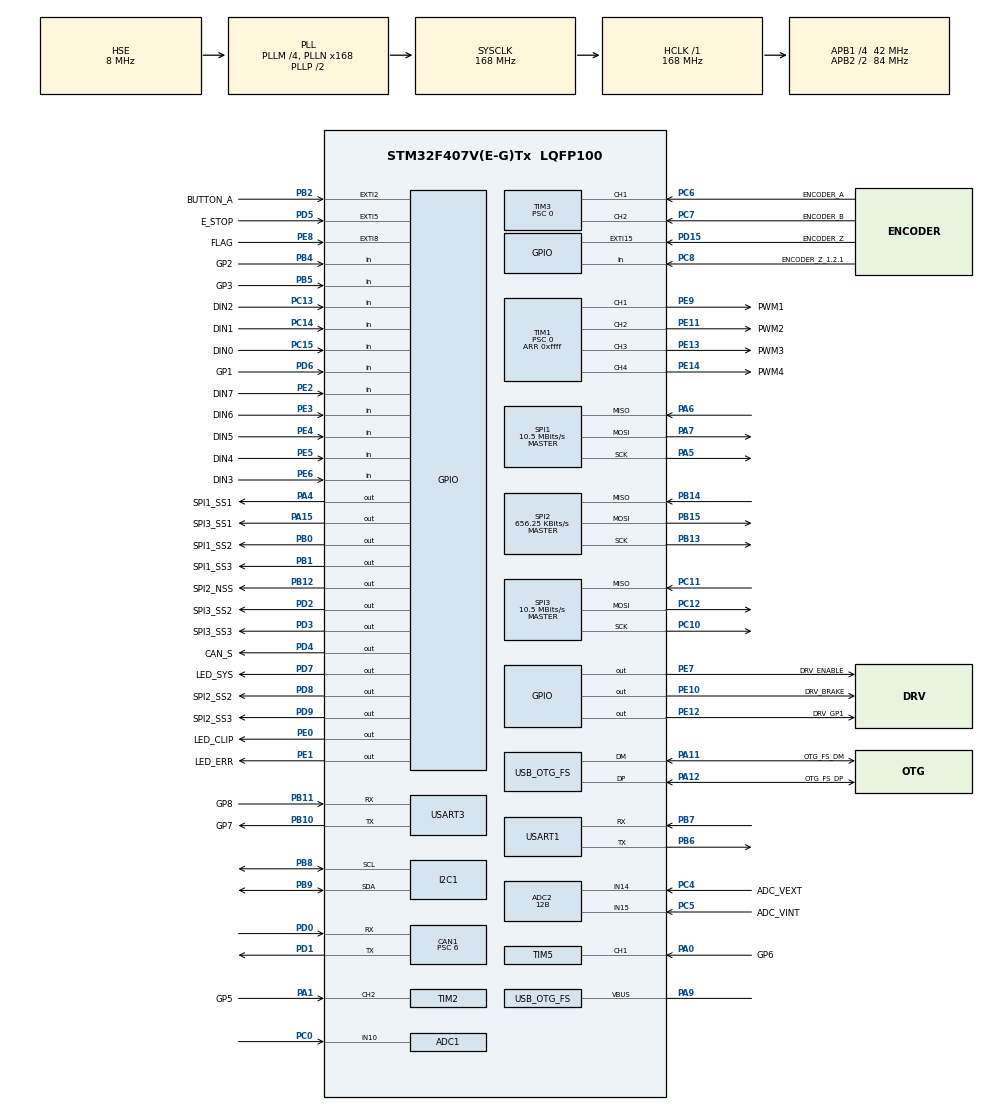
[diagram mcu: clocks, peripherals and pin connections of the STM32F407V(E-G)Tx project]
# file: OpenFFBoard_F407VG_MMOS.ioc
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ADC1.Channel-0\#ChannelRegularConversion=ADC_CHANNEL_10
ADC1.NbrOfConversionFlag=1
ADC1.Rank-0\#ChannelRegularConversion=1
ADC1.SamplingTime-0\#ChannelRegularConversion=ADC_SAMPLETIME_3CYCLES
ADC1.master=1
ADC2.Channel-0\#ChannelRegularConversion=ADC_CHANNEL_14
ADC2.Channel-1\#ChannelRegularConversion=ADC_CHANNEL_15
ADC2.ClockPrescaler=ADC_CLOCK_SYNC_PCLK_DIV4
ADC2.ContinuousConvMode=DISABLE
ADC2.DMAContinuousRequests=ENABLE
ADC2.DataAlign=ADC_DATAALIGN_RIGHT
ADC2.DiscontinuousConvMode=DISABLE
ADC2.EOCSelection=ADC_EOC_SINGLE_CONV
ADC2.EnableAnalogWatchDog=false
ADC2.ExternalTrigConv=ADC_SOFTWARE_START
ADC2.ExternalTrigConvEdge=ADC_EXTERNALTRIGCONVEDGE_NONE
ADC2.InjNumberOfConversion=0
ADC2.Mode=__NULL
ADC2.NbrOfConversion=2
ADC2.Rank-0\#ChannelRegularConversion=1
ADC2.Rank-1\#ChannelRegularConversion=2
ADC2.Resolution=ADC_RESOLUTION_12B
ADC2.SamplingTime-0\#ChannelRegularConversion=ADC_SAMPLETIME_84CYCLES
ADC2.SamplingTime-1\#ChannelRegularConversion=ADC_SAMPLETIME_84CYCLES
ADC2.ScanConvMode=ENABLE
CAN1.ABOM=DISABLE
CAN1.AWUM=DISABLE
CAN1.BS1=CAN_BS1_11TQ
CAN1.BS2=CAN_BS2_2TQ
CAN1.CalculateBaudRate=500000
CAN1.CalculateTimeBit=2000
CAN1.CalculateTimeQuantum=142.85714285714286
CAN1.Mode=CAN_MODE_NORMAL
CAN1.NART=DISABLE
CAN1.Prescaler=6
CAN1.RFLM=DISABLE
CAN1.SJW=CAN_SJW_1TQ
CAN1.TTCM=DISABLE
CAN1.TXFP=DISABLE
Dma.ADC2.0.Direction=DMA_PERIPH_TO_MEMORY
Dma.ADC2.0.FIFOMode=DMA_FIFOMODE_DISABLE
Dma.ADC2.0.Instance=DMA2_Stream2
Dma.ADC2.0.MemDataAlignment=DMA_MDATAALIGN_WORD
Dma.ADC2.0.MemInc=DMA_MINC_ENABLE
Dma.ADC2.0.Mode=DMA_CIRCULAR
Dma.ADC2.0.PeriphDataAlignment=DMA_PDATAALIGN_WORD
Dma.ADC2.0.PeriphInc=DMA_PINC_DISABLE
Dma.ADC2.0.Priority=DMA_PRIORITY_LOW
Dma.Request0=ADC2
Dma.Request1=SPI1_RX
Dma.Request2=SPI1_TX
Dma.Request3=SPI2_RX
Dma.Request4=SPI2_TX
Dma.Request5=SPI3_RX
Dma.Request6=SPI3_TX
Dma.Request7=USART1_RX
Dma.Request8=USART1_TX
Dma.SPI1_RX.1.Direction=DMA_PERIPH_TO_MEMORY
Dma.SPI1_RX.1.FIFOMode=DMA_FIFOMODE_DISABLE
Dma.SPI1_RX.1.Instance=DMA2_Stream0
Dma.SPI1_RX.1.MemDataAlignment=DMA_MDATAALIGN_BYTE
Dma.SPI1_RX.1.MemInc=DMA_MINC_ENABLE
Dma.SPI1_RX.1.Mode=DMA_NORMAL
Dma.SPI1_RX.1.PeriphDataAlignment=DMA_PDATAALIGN_BYTE
Dma.SPI1_RX.1.PeriphInc=DMA_PINC_DISABLE
Dma.SPI1_RX.1.Priority=DMA_PRIORITY_LOW
Dma.SPI1_TX.2.Direction=DMA_MEMORY_TO_PERIPH
Dma.SPI1_TX.2.FIFOMode=DMA_FIFOMODE_DISABLE
Dma.SPI1_TX.2.Instance=DMA2_Stream3
Dma.SPI1_TX.2.MemDataAlignment=DMA_MDATAALIGN_BYTE
Dma.SPI1_TX.2.MemInc=DMA_MINC_ENABLE
Dma.SPI1_TX.2.Mode=DMA_NORMAL
Dma.SPI1_TX.2.PeriphDataAlignment=DMA_PDATAALIGN_BYTE
Dma.SPI1_TX.2.PeriphInc=DMA_PINC_DISABLE
Dma.SPI1_TX.2.Priority=DMA_PRIORITY_LOW
Dma.SPI2_RX.3.Direction=DMA_PERIPH_TO_MEMORY
Dma.SPI2_RX.3.FIFOMode=DMA_FIFOMODE_DISABLE
Dma.SPI2_RX.3.Instance=DMA1_Stream3
Dma.SPI2_RX.3.MemDataAlignment=DMA_MDATAALIGN_BYTE
Dma.SPI2_RX.3.MemInc=DMA_MINC_ENABLE
Dma.SPI2_RX.3.Mode=DMA_NORMAL
Dma.SPI2_RX.3.PeriphDataAlignment=DMA_PDATAALIGN_BYTE
Dma.SPI2_RX.3.PeriphInc=DMA_PINC_DISABLE
Dma.SPI2_RX.3.Priority=DMA_PRIORITY_LOW
Dma.SPI2_TX.4.Direction=DMA_MEMORY_TO_PERIPH
Dma.SPI2_TX.4.FIFOMode=DMA_FIFOMODE_DISABLE
Dma.SPI2_TX.4.Instance=DMA1_Stream4
Dma.SPI2_TX.4.MemDataAlignment=DMA_MDATAALIGN_BYTE
Dma.SPI2_TX.4.MemInc=DMA_MINC_ENABLE
Dma.SPI2_TX.4.Mode=DMA_NORMAL
Dma.SPI2_TX.4.PeriphDataAlignment=DMA_PDATAALIGN_BYTE
Dma.SPI2_TX.4.PeriphInc=DMA_PINC_DISABLE
Dma.SPI2_TX.4.Priority=DMA_PRIORITY_LOW
Dma.SPI3_RX.5.Direction=DMA_PERIPH_TO_MEMORY
Dma.SPI3_RX.5.FIFOMode=DMA_FIFOMODE_DISABLE
Dma.SPI3_RX.5.Instance=DMA1_Stream0
Dma.SPI3_RX.5.MemDataAlignment=DMA_MDATAALIGN_BYTE
Dma.SPI3_RX.5.MemInc=DMA_MINC_ENABLE
Dma.SPI3_RX.5.Mode=DMA_NORMAL
Dma.SPI3_RX.5.PeriphDataAlignment=DMA_PDATAALIGN_BYTE
Dma.SPI3_RX.5.PeriphInc=DMA_PINC_DISABLE
Dma.SPI3_RX.5.Priority=DMA_PRIORITY_LOW
Dma.SPI3_TX.6.Direction=DMA_MEMORY_TO_PERIPH
Dma.SPI3_TX.6.FIFOMode=DMA_FIFOMODE_DISABLE
Dma.SPI3_TX.6.Instance=DMA1_Stream5
Dma.SPI3_TX.6.MemDataAlignment=DMA_MDATAALIGN_BYTE
Dma.SPI3_TX.6.MemInc=DMA_MINC_ENABLE
Dma.SPI3_TX.6.Mode=DMA_NORMAL
Dma.SPI3_TX.6.PeriphDataAlignment=DMA_PDATAALIGN_BYTE
Dma.SPI3_TX.6.PeriphInc=DMA_PINC_DISABLE
Dma.SPI3_TX.6.Priority=DMA_PRIORITY_LOW
Dma.USART1_RX.7.Direction=DMA_PERIPH_TO_MEMORY
Dma.USART1_RX.7.FIFOMode=DMA_FIFOMODE_DISABLE
Dma.USART1_RX.7.Instance=DMA2_Stream5
Dma.USART1_RX.7.MemDataAlignment=DMA_MDATAALIGN_BYTE
Dma.USART1_RX.7.MemInc=DMA_MINC_ENABLE
Dma.USART1_RX.7.Mode=DMA_NORMAL
Dma.USART1_RX.7.PeriphDataAlignment=DMA_PDATAALIGN_BYTE
Dma.USART1_RX.7.PeriphInc=DMA_PINC_DISABLE
Dma.USART1_RX.7.Priority=DMA_PRIORITY_LOW
Dma.USART1_TX.8.Direction=DMA_MEMORY_TO_PERIPH
Dma.USART1_TX.8.FIFOMode=DMA_FIFOMODE_DISABLE
Dma.USART1_TX.8.Instance=DMA2_Stream7
Dma.USART1_TX.8.MemDataAlignment=DMA_MDATAALIGN_BYTE
Dma.USART1_TX.8.MemInc=DMA_MINC_ENABLE
Dma.USART1_TX.8.Mode=DMA_NORMAL
Dma.USART1_TX.8.PeriphDataAlignment=DMA_PDATAALIGN_BYTE
Dma.USART1_TX.8.PeriphInc=DMA_PINC_DISABLE
Dma.USART1_TX.8.Priority=DMA_PRIORITY_LOW
FREERTOS.HEAP_NUMBER=4
FREERTOS.Tasks01=defaultTask,16,1024,StartDefaultTask,As weak,NULL,Dynamic,NULL,NULL
FREERTOS.configCHECK_FOR_STACK_OVERFLOW=2
FREERTOS.configENABLE_FPU=1
FREERTOS.configGENERATE_RUN_TIME_STATS=0
FREERTOS.configRECORD_STACK_HIGH_ADDRESS=1
FREERTOS.configTOTAL_HEAP_SIZE=0xffff
FREERTOS.configUSE_IDLE_HOOK=1
FREERTOS.configUSE_MALLOC_FAILED_HOOK=1
FREERTOS.configUSE_NEWLIB_REENTRANT=1
FREERTOS.configUSE_STATS_FORMATTING_FUNCTIONS=0
FREERTOS.configUSE_TRACE_FACILITY=1
IWDG.Prescaler=IWDG_PRESCALER_16
Mcu.Family=STM32F4
Mcu.Name=STM32F407V(E-G)Tx
Mcu.Package=LQFP100
NVIC.ADC_IRQn=true\:6\:0\:true\:true\:true\:4\:true\:true\:true
NVIC.CAN1_RX0_IRQn=true\:12\:0\:true\:false\:true\:true\:true\:true
NVIC.CAN1_TX_IRQn=true\:12\:0\:true\:false\:true\:true\:true\:true
NVIC.DMA1_Stream0_IRQn=true\:5\:0\:true\:false\:true\:true\:false\:true
NVIC.DMA1_Stream3_IRQn=true\:5\:0\:true\:false\:true\:true\:false\:true
NVIC.DMA1_Stream4_IRQn=true\:5\:0\:true\:false\:true\:true\:false\:true
NVIC.DMA1_Stream5_IRQn=true\:5\:0\:true\:false\:true\:true\:false\:true
NVIC.DMA2_Stream0_IRQn=true\:5\:0\:true\:true\:true\:1\:true\:false\:true
NVIC.DMA2_Stream2_IRQn=true\:5\:0\:true\:false\:true\:true\:false\:true
NVIC.DMA2_Stream3_IRQn=true\:5\:0\:true\:false\:true\:true\:false\:true
NVIC.DMA2_Stream5_IRQn=true\:5\:0\:false\:false\:true\:true\:false\:true
NVIC.DMA2_Stream7_IRQn=true\:5\:0\:false\:false\:true\:true\:false\:true
NVIC.EXTI2_IRQn=true\:6\:0\:true\:false\:true\:true\:true\:true
NVIC.EXTI9_5_IRQn=true\:13\:0\:true\:false\:true\:true\:true\:true
NVIC.I2C1_EV_IRQn=true\:9\:0\:true\:false\:true\:true\:true\:true
NVIC.OTG_FS_IRQn=true\:14\:0\:true\:false\:true\:true\:true\:false
NVIC.PriorityGroup=NVIC_PRIORITYGROUP_4
NVIC.SPI3_IRQn=true\:10\:0\:true\:false\:true\:true\:true\:true
NVIC.TIM1_BRK_TIM9_IRQn=true\:6\:0\:true\:false\:true\:true\:true\:true
NVIC.TIM2_IRQn=true\:7\:0\:true\:false\:true\:true\:true\:true
NVIC.TIM3_IRQn=true\:6\:0\:true\:true\:true\:3\:true\:true\:true
NVIC.TIM4_IRQn=true\:6\:0\:true\:true\:true\:2\:true\:true\:true
NVIC.TIM5_IRQn=true\:6\:0\:true\:false\:true\:true\:true\:true
NVIC.TIM6_DAC_IRQn=true\:0\:0\:false\:false\:true\:false\:false\:true
NVIC.TimeBase=TIM6_DAC_IRQn
NVIC.TimeBaseIP=TIM6
NVIC.USART1_IRQn=true\:7\:0\:true\:false\:true\:true\:true\:true
NVIC.USART3_IRQn=true\:7\:0\:true\:false\:true\:true\:true\:true
PA0-WKUP.GPIO_Label=GP6
PA0-WKUP.Signal=S_TIM5_CH1
PA1.GPIO_Label=GP5
PA1.Signal=S_TIM2_CH2
PA11.GPIO_Label=OTG_FS_DM
PA11.Mode=Device_Only
PA11.Signal=USB_OTG_FS_DM
PA12.GPIO_Label=OTG_FS_DP
PA12.Mode=Device_Only
PA12.Signal=USB_OTG_FS_DP
PA13.GPIO_Label=SWDIO
PA13.Mode=Trace_Asynchronous_SW
PA13.Signal=SYS_JTMS-SWDIO
PA14.GPIO_Label=SWCLK
PA14.Mode=Trace_Asynchronous_SW
PA14.Signal=SYS_JTCK-SWCLK
PA15.GPIO_Label=SPI3_SS1
PA15.Signal=GPIO_Output
PA4.GPIO_Label=SPI1_SS1
PA4.GPIO_Speed=GPIO_SPEED_FREQ_VERY_HIGH
PA4.PinState=GPIO_PIN_SET
PA4.Signal=GPIO_Output
PA5.Mode=Full_Duplex_Master
PA5.Signal=SPI1_SCK
PA6.GPIO_PuPd=GPIO_NOPULL
PA6.Mode=Full_Duplex_Master
PA6.Signal=SPI1_MISO
PA7.Mode=Full_Duplex_Master
PA7.Signal=SPI1_MOSI
PA9.Mode=Activate_VBUS
PA9.Signal=USB_OTG_FS_VBUS
PB0.GPIO_Label=SPI1_SS2
PB0.GPIO_Speed=GPIO_SPEED_FREQ_HIGH
PB0.Signal=GPIO_Output
PB1.GPIO_Label=SPI1_SS3
PB1.GPIO_Speed=GPIO_SPEED_FREQ_HIGH
PB1.Signal=GPIO_Output
PB10.GPIO_Label=GP7
PB10.Mode=Asynchronous
PB10.Signal=USART3_TX
PB11.GPIO_Label=GP8
PB11.Mode=Asynchronous
PB11.Signal=USART3_RX
PB12.GPIO_Label=SPI2_NSS
PB12.GPIO_Speed=GPIO_SPEED_FREQ_HIGH
PB12.Signal=GPIO_Output
PB13.Mode=Full_Duplex_Master
PB13.Signal=SPI2_SCK
PB14.Mode=Full_Duplex_Master
PB14.Signal=SPI2_MISO
PB15.Mode=Full_Duplex_Master
PB15.Signal=SPI2_MOSI
PB2.GPIO_Label=BUTTON_A
PB2.GPIO_PuPd=GPIO_PULLDOWN
PB2.Signal=GPXTI2
PB3.GPIO_Label=GP4
PB3.Mode=Trace_Asynchronous_SW
PB3.Signal=SYS_JTDO-SWO
PB4.GPIO_Label=GP2
PB4.Signal=GPIO_Input
PB5.GPIO_Label=GP3
PB5.Signal=GPIO_Input
PB6.Mode=Asynchronous
PB6.Signal=USART1_TX
PB7.Mode=Asynchronous
PB7.Signal=USART1_RX
PB8.GPIO_Pu=GPIO_PULLUP
PB8.Mode=I2C
PB8.Signal=I2C1_SCL
PB9.GPIO_Pu=GPIO_PULLUP
PB9.Mode=I2C
PB9.Signal=I2C1_SDA
PC0.Signal=ADCx_IN10
PC10.Mode=Full_Duplex_Master
PC10.Signal=SPI3_SCK
PC11.Mode=Full_Duplex_Master
PC11.Signal=SPI3_MISO
PC12.Mode=Full_Duplex_Master
PC12.Signal=SPI3_MOSI
PC13-ANTI_TAMP.GPIO_Label=DIN2
PC13-ANTI_TAMP.GPIO_PuPd=GPIO_PULLUP
PC13-ANTI_TAMP.Signal=GPIO_Input
PC14-OSC32_IN.GPIO_Label=DIN1
PC14-OSC32_IN.GPIO_PuPd=GPIO_PULLUP
PC14-OSC32_IN.Signal=GPIO_Input
PC15-OSC32_OUT.GPIO_Label=DIN0
PC15-OSC32_OUT.GPIO_PuPd=GPIO_PULLUP
PC15-OSC32_OUT.Signal=GPIO_Input
PC4.GPIO_Label=ADC_VEXT
PC4.Signal=ADCx_IN14
PC5.GPIO_Label=ADC_VINT
PC5.Signal=ADCx_IN15
PC6.GPIO_Label=ENCODER_A
PC6.GPIO_PuPd=GPIO_NOPULL
PC6.Signal=S_TIM3_CH1
PC7.GPIO_Label=ENCODER_B
PC7.GPIO_PuPd=GPIO_NOPULL
PC7.Signal=S_TIM3_CH2
PC8.GPIO_Label=ENCODER_Z_1.2.1
PC8.GPIO_PuPd=GPIO_NOPULL
PC8.Signal=GPIO_Input
PD0.Mode=CAN_Activate
PD0.Signal=CAN1_RX
PD1.Mode=CAN_Activate
PD1.Signal=CAN1_TX
PD15.GPIO_Label=ENCODER_Z
PD15.Signal=GPXTI15
PD2.GPIO_Label=SPI3_SS2
PD2.Signal=GPIO_Output
PD3.GPIO_Label=SPI3_SS3
PD3.Signal=GPIO_Output
PD4.GPIO_Label=CAN_S
PD4.GPIO_PuPd=GPIO_NOPULL
PD4.PinState=GPIO_PIN_RESET
PD4.Signal=GPIO_Output
PD5.GPIO_Label=E_STOP
PD5.GPIO_ModeDefaultEXTI=GPIO_MODE_IT_FALLING
PD5.GPIO_PuPd=GPIO_PULLUP
PD5.Signal=GPXTI5
PD6.GPIO_Label=GP1
PD6.Signal=GPIO_Input
PD7.GPIO_Label=LED_SYS
PD7.Signal=GPIO_Output
PD8.GPIO_Label=SPI2_SS2
PD8.GPIO_Speed=GPIO_SPEED_FREQ_MEDIUM
PD8.Signal=GPIO_Output
PD9.GPIO_Label=SPI2_SS3
PD9.GPIO_Speed=GPIO_SPEED_FREQ_MEDIUM
PD9.Signal=GPIO_Output
PE0.GPIO_Label=LED_CLIP
PE0.Signal=GPIO_Output
PE1.GPIO_Label=LED_ERR
PE1.Signal=GPIO_Output
PE10.GPIO_Label=DRV_BRAKE
PE10.GPIO_PuPd=GPIO_PULLDOWN
PE10.GPIO_Speed=GPIO_SPEED_FREQ_MEDIUM
PE10.Signal=GPIO_Output
PE11.GPIO_Label=PWM2
PE11.GPIO_Speed=GPIO_SPEED_FREQ_HIGH
PE11.Signal=S_TIM1_CH2
PE12.GPIO_Label=DRV_GP1
PE12.Signal=GPIO_Output
PE13.GPIO_Label=PWM3
PE13.GPIO_Speed=GPIO_SPEED_FREQ_HIGH
PE13.Signal=S_TIM1_CH3
PE14.GPIO_Label=PWM4
PE14.GPIO_Speed=GPIO_SPEED_FREQ_HIGH
PE14.Signal=S_TIM1_CH4
PE2.GPIO_Label=DIN7
PE2.GPIO_PuPd=GPIO_PULLUP
PE2.Signal=GPIO_Input
PE3.GPIO_Label=DIN6
PE3.GPIO_PuPd=GPIO_PULLUP
PE3.Signal=GPIO_Input
PE4.GPIO_Label=DIN5
PE4.GPIO_PuPd=GPIO_PULLUP
PE4.Signal=GPIO_Input
PE5.GPIO_Label=DIN4
PE5.GPIO_PuPd=GPIO_PULLUP
PE5.Signal=GPIO_Input
PE6.GPIO_Label=DIN3
PE6.GPIO_PuPd=GPIO_PULLUP
PE6.Signal=GPIO_Input
PE7.GPIO_Label=DRV_ENABLE
PE7.GPIO_PuPd=GPIO_PULLDOWN
PE7.Signal=GPIO_Output
PE8.GPIO_Label=FLAG
PE8.GPIO_PuPd=GPIO_PULLDOWN
PE8.Signal=GPXTI8
PE9.GPIO_Label=PWM1
PE9.GPIO_PuPd=GPIO_NOPULL
PE9.GPIO_Speed=GPIO_SPEED_FREQ_HIGH
PE9.Signal=S_TIM1_CH1
PH0-OSC_IN.Mode=HSE-External-Oscillator
PH0-OSC_IN.Signal=RCC_OSC_IN
PH1-OSC_OUT.Mode=HSE-External-Oscillator
PH1-OSC_OUT.Signal=RCC_OSC_OUT
ProjectManager.HeapSize=0x400
ProjectManager.StackSize=0x400
ProjectManager.TargetToolchain=STM32CubeIDE
RCC.48MHZClocksFreq_Value=48000000
RCC.AHBFreq_Value=168000000
RCC.APB1CLKDivider=RCC_HCLK_DIV4
RCC.APB1Freq_Value=42000000
RCC.APB1TimFreq_Value=84000000
RCC.APB2CLKDivider=RCC_HCLK_DIV2
RCC.APB2Freq_Value=84000000
RCC.APB2TimFreq_Value=168000000
RCC.CortexFreq_Value=168000000
RCC.HCLKFreq_Value=168000000
RCC.HSE_VALUE=8000000
RCC.HSI_VALUE=16000000
RCC.LSE_VALUE=32768
RCC.PLLM=4
RCC.PLLN=168
RCC.PLLQ=7
RCC.RCC_MCO1Source=RCC_MCO1SOURCE_PLLCLK
RCC.SYSCLKFreq_VALUE=168000000
RCC.SYSCLKSource=RCC_SYSCLKSOURCE_PLLCLK
RCC.VCOOutputFreq_Value=336000000
SH.ADCx_IN10.0=ADC1_IN10,IN10
SH.ADCx_IN14.0=ADC2_IN14,IN14
SH.ADCx_IN15.0=ADC2_IN15,IN15
SH.S_TIM1_CH1.0=TIM1_CH1,PWM Generation1 CH1
SH.S_TIM1_CH2.0=TIM1_CH2,PWM Generation2 CH2
SH.S_TIM1_CH3.0=TIM1_CH3,PWM Generation3 CH3
SH.S_TIM1_CH4.0=TIM1_CH4,PWM Generation4 CH4
SH.S_TIM2_CH2.0=TIM2_CH2,PWM_Input_2
SH.S_TIM3_CH1.0=TIM3_CH1,Encoder_Interface
SH.S_TIM3_CH2.0=TIM3_CH2,Encoder_Interface
SH.S_TIM5_CH1.0=TIM5_CH1,PWM_Input_1
SPI1.BaudRatePrescaler=SPI_BAUDRATEPRESCALER_8
SPI1.CLKPhase=SPI_PHASE_2EDGE
SPI1.CLKPolarity=SPI_POLARITY_HIGH
SPI1.CRCCalculation=SPI_CRCCALCULATION_DISABLE
SPI1.CalculateBaudRate=10.5 MBits/s
SPI1.DataSize=SPI_DATASIZE_8BIT
SPI1.Direction=SPI_DIRECTION_2LINES
SPI1.FirstBit=SPI_FIRSTBIT_MSB
SPI1.Mode=SPI_MODE_MASTER
SPI1.NSS=SPI_NSS_SOFT
SPI1.TIMode=SPI_TIMODE_DISABLE
SPI1.VirtualType=VM_MASTER
SPI2.BaudRatePrescaler=SPI_BAUDRATEPRESCALER_64
SPI2.CLKPhase=SPI_PHASE_1EDGE
SPI2.CLKPolarity=SPI_POLARITY_LOW
SPI2.CRCCalculation=SPI_CRCCALCULATION_DISABLE
SPI2.CalculateBaudRate=656.25 KBits/s
SPI2.Direction=SPI_DIRECTION_2LINES
SPI2.FirstBit=SPI_FIRSTBIT_MSB
SPI2.Mode=SPI_MODE_MASTER
SPI2.NSS=SPI_NSS_SOFT
SPI2.TIMode=SPI_TIMODE_DISABLE
SPI2.VirtualType=VM_MASTER
SPI3.BaudRatePrescaler=SPI_BAUDRATEPRESCALER_4
SPI3.CalculateBaudRate=10.5 MBits/s
SPI3.Direction=SPI_DIRECTION_2LINES
SPI3.Mode=SPI_MODE_MASTER
SPI3.VirtualType=VM_MASTER
TIM1.AutoReloadPreload=TIM_AUTORELOAD_PRELOAD_ENABLE
TIM1.Channel-PWM\ Generation1\ CH1=TIM_CHANNEL_1
TIM1.Channel-PWM\ Generation2\ CH2=TIM_CHANNEL_2
TIM1.Channel-PWM\ Generation3\ CH3=TIM_CHANNEL_3
TIM1.Channel-PWM\ Generation4\ CH4=TIM_CHANNEL_4
TIM1.ClockDivision=TIM_CLOCKDIVISION_DIV1
TIM1.CounterMode=TIM_COUNTERMODE_UP
TIM1.Period=0xffff
TIM1.Prescaler=0
TIM1.RepetitionCounter=0
TIM1.TIM_MasterOutputTrigger=TIM_TRGO_RESET
TIM1.TIM_MasterSlaveMode=TIM_MASTERSLAVEMODE_DISABLE
TIM10.Prescaler=167
TIM2.AutoReloadPreload=TIM_AUTORELOAD_PRELOAD_DISABLE
TIM2.ClockDivision=TIM_CLOCKDIVISION_DIV1
TIM2.CounterMode=TIM_COUNTERMODE_UP
TIM2.Period=0xffffffff
TIM2.Prescaler=0
TIM2.TIM_MasterOutputTrigger=TIM_TRGO_RESET
TIM2.TIM_MasterSlaveMode=TIM_MASTERSLAVEMODE_DISABLE
TIM3.AutoReloadPreload=TIM_AUTORELOAD_PRELOAD_DISABLE
TIM3.ClockDivision=TIM_CLOCKDIVISION_DIV1
TIM3.CounterMode=TIM_COUNTERMODE_CENTERALIGNED1
TIM3.EncoderMode=TIM_ENCODERMODE_TI12
TIM3.IC1Filter=0
TIM3.IC1Polarity=TIM_ICPOLARITY_FALLING
TIM3.IC1Prescaler=TIM_ICPSC_DIV1
TIM3.IC1Selection=TIM_ICSELECTION_DIRECTTI
TIM3.IC2Filter=0
TIM3.IC2Polarity=TIM_ICPOLARITY_FALLING
TIM3.IC2Prescaler=TIM_ICPSC_DIV1
TIM3.IC2Selection=TIM_ICSELECTION_DIRECTTI
TIM3.Period=0xffff
TIM3.Prescaler=0
TIM3.TIM_MasterOutputTrigger=TIM_TRGO_RESET
TIM3.TIM_MasterSlaveMode=TIM_MASTERSLAVEMODE_DISABLE
TIM4.AutoReloadPreload=TIM_AUTORELOAD_PRELOAD_DISABLE
TIM4.ClockDivision=TIM_CLOCKDIVISION_DIV1
TIM4.CounterMode=TIM_COUNTERMODE_UP
TIM4.Period=0xffff
TIM4.Prescaler=168-1
TIM4.TIM_MasterOutputTrigger=TIM_TRGO_RESET
TIM4.TIM_MasterSlaveMode=TIM_MASTERSLAVEMODE_DISABLE
TIM5.AutoReloadPreload=TIM_AUTORELOAD_PRELOAD_DISABLE
TIM5.ClockDivision=TIM_CLOCKDIVISION_DIV1
TIM5.CounterMode=TIM_COUNTERMODE_UP
TIM5.Period=0xffffffff
TIM5.Prescaler=0
TIM5.TIM_MasterOutputTrigger=TIM_TRGO_RESET
TIM5.TIM_MasterSlaveMode=TIM_MASTERSLAVEMODE_DISABLE
USART1.VirtualMode=VM_ASYNC
USART3.VirtualMode=VM_ASYNC
USB_OTG_FS.Sof_enable=DISABLE
USB_OTG_FS.VirtualMode=Device_Only
USB_OTG_FS.low_power_enable=DISABLE
USB_OTG_FS.lpm_enable=DISABLE
USB_OTG_FS.vbus_sensing_enable=ENABLE
VP_ADC1_TempSens_Input.Mode=IN-TempSens
VP_FREERTOS_VS_CMSIS_V2.Mode=CMSIS_V2
VP_IWDG_VS_IWDG.Mode=IWDG_Activate
VP_SYS_VS_tim6.Mode=TIM6
VP_TIM10_VS_ClockSourceINT.Mode=Enable_Timer
VP_TIM1_VS_ClockSourceINT.Mode=Internal
VP_TIM2_VS_ClockSourceINT.Mode=Internal
VP_TIM4_VS_ClockSourceINT.Mode=Internal
VP_TIM5_VS_ClockSourceINT.Mode=Internal
VP_TIM9_VS_ClockSourceINT.Mode=Internal
board=custom

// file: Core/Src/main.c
/* USER CODE BEGIN Header */
/**
  ******************************************************************************
  * @file           : main.c
  * @brief          : Main program body
  ******************************************************************************
  * @attention
  *
  * <h2><center>&copy; Copyright (c) 2020 STMicroelectronics.
  * All rights reserved.</center></h2>
  *
  * This software component is licensed by ST under BSD 3-Clause license,
  * the "License"; You may not use this file except in compliance with the
  * License. You may obtain a copy of the License at:
  *                        opensource.org/licenses/BSD-3-Clause
  *
  ******************************************************************************
  */
/* USER CODE END Header */
#include "main.h"
#include "cmsis_os.h"

/* USER CODE BEGIN Includes */
#include "global_callbacks.h"
#include "cppmain.h"
extern void cppmain();
/* USER CODE END Includes */

ADC_HandleTypeDef hadc1;
ADC_HandleTypeDef hadc2;
DMA_HandleTypeDef hdma_adc2;

CAN_HandleTypeDef hcan1;

I2C_HandleTypeDef hi2c1;

IWDG_HandleTypeDef hiwdg;

SPI_HandleTypeDef hspi1;
SPI_HandleTypeDef hspi2;
SPI_HandleTypeDef hspi3;
DMA_HandleTypeDef hdma_spi1_rx;
DMA_HandleTypeDef hdma_spi1_tx;
DMA_HandleTypeDef hdma_spi2_rx;
DMA_HandleTypeDef hdma_spi2_tx;
DMA_HandleTypeDef hdma_spi3_rx;
DMA_HandleTypeDef hdma_spi3_tx;

TIM_HandleTypeDef htim1;
TIM_HandleTypeDef htim2;
TIM_HandleTypeDef htim3;
TIM_HandleTypeDef htim4;
TIM_HandleTypeDef htim5;
TIM_HandleTypeDef htim9;
TIM_HandleTypeDef htim10;

UART_HandleTypeDef huart1;
UART_HandleTypeDef huart3;
DMA_HandleTypeDef hdma_usart1_rx;
DMA_HandleTypeDef hdma_usart1_tx;

PCD_HandleTypeDef hpcd_USB_OTG_FS;

/* Definitions for defaultTask */
osThreadId_t defaultTaskHandle;
const osThreadAttr_t defaultTask_attributes = {
  .name = "defaultTask",
  .stack_size = 1024 * 4,
  .priority = (osPriority_t) osPriorityBelowNormal,
};
/* USER CODE BEGIN PV */
// dummy main
__attribute__((weak)) void cppmain(){
	Error_Handler();
}
/* USER CODE END PV */

void SystemClock_Config(void);
static void MX_GPIO_Init(void);
static void MX_DMA_Init(void);
static void MX_TIM3_Init(void);
static void MX_TIM2_Init(void);
static void MX_TIM1_Init(void);
static void MX_SPI2_Init(void);
static void MX_TIM4_Init(void);
static void MX_TIM5_Init(void);
static void MX_SPI1_Init(void);
static void MX_CAN1_Init(void);
static void MX_ADC2_Init(void);
static void MX_I2C1_Init(void);
static void MX_SPI3_Init(void);
static void MX_USART1_UART_Init(void);
static void MX_TIM10_Init(void);
static void MX_TIM9_Init(void);
static void MX_IWDG_Init(void);
static void MX_USART3_UART_Init(void);
static void MX_ADC1_Init(void);
void StartDefaultTask(void *argument);

static void MX_NVIC_Init(void);

int main(void)
{

  /* MCU Configuration--------------------------------------------------------*/

  /* Reset of all peripherals, Initializes the Flash interface and the Systick. */
  HAL_Init();

  /* Configure the system clock */
  SystemClock_Config();

  /* Initialize all configured peripherals */
  MX_GPIO_Init();
  MX_DMA_Init();
  MX_TIM3_Init();
  MX_TIM2_Init();
  MX_TIM1_Init();
  MX_SPI2_Init();
  MX_TIM4_Init();
  MX_TIM5_Init();
  MX_SPI1_Init();
  MX_CAN1_Init();
  MX_ADC2_Init();
  MX_I2C1_Init();
  MX_SPI3_Init();
  MX_USART1_UART_Init();
  MX_TIM10_Init();
  MX_TIM9_Init();
  MX_IWDG_Init();
  MX_USART3_UART_Init();
  MX_ADC1_Init();

  /* Initialize interrupts */
  MX_NVIC_Init();
  /* USER CODE BEGIN 2 */
  MX_USB_OTG_FS_PCD_Init();
  HAL_GPIO_WritePin(LED_SYS_GPIO_Port, LED_SYS_Pin, GPIO_PIN_SET);
  HAL_GPIO_WritePin(LED_CLIP_GPIO_Port, LED_CLIP_Pin, GPIO_PIN_SET);
  HAL_GPIO_WritePin(LED_ERR_GPIO_Port, LED_ERR_Pin, GPIO_PIN_SET);
  HAL_Delay(100);

  /* USER CODE END 2 */

  /* Init scheduler */
  osKernelInitialize();

  /* Create the thread(s) */
  /* creation of defaultTask */
  defaultTaskHandle = osThreadNew(StartDefaultTask, NULL, &defaultTask_attributes);

  /* Start scheduler */
  osKernelStart();

  /* We should never get here as control is now taken by the scheduler */
  /* Infinite loop */
  while (1)
  {

  }
}

void SystemClock_Config(void)
{
  RCC_OscInitTypeDef RCC_OscInitStruct = {0};
  RCC_ClkInitTypeDef RCC_ClkInitStruct = {0};

  /** Configure the main internal regulator output voltage
  */
  __HAL_RCC_PWR_CLK_ENABLE();
  __HAL_PWR_VOLTAGESCALING_CONFIG(PWR_REGULATOR_VOLTAGE_SCALE1);
  /** Initializes the RCC Oscillators according to the specified parameters
  * in the RCC_OscInitTypeDef structure.
  */
  RCC_OscInitStruct.OscillatorType = RCC_OSCILLATORTYPE_LSI|RCC_OSCILLATORTYPE_HSE;
  RCC_OscInitStruct.HSEState = RCC_HSE_ON;
  RCC_OscInitStruct.LSIState = RCC_LSI_ON;
  RCC_OscInitStruct.PLL.PLLState = RCC_PLL_ON;
  RCC_OscInitStruct.PLL.PLLSource = RCC_PLLSOURCE_HSE;
  RCC_OscInitStruct.PLL.PLLM = 4;
  RCC_OscInitStruct.PLL.PLLN = 168;
  RCC_OscInitStruct.PLL.PLLP = RCC_PLLP_DIV2;
  RCC_OscInitStruct.PLL.PLLQ = 7;
  if (HAL_RCC_OscConfig(&RCC_OscInitStruct) != HAL_OK)
  {
    Error_Handler();
  }
  /** Initializes the CPU, AHB and APB buses clocks
  */
  RCC_ClkInitStruct.ClockType = RCC_CLOCKTYPE_HCLK|RCC_CLOCKTYPE_SYSCLK
                              |RCC_CLOCKTYPE_PCLK1|RCC_CLOCKTYPE_PCLK2;
  RCC_ClkInitStruct.SYSCLKSource = RCC_SYSCLKSOURCE_PLLCLK;
  RCC_ClkInitStruct.AHBCLKDivider = RCC_SYSCLK_DIV1;
  RCC_ClkInitStruct.APB1CLKDivider = RCC_HCLK_DIV4;
  RCC_ClkInitStruct.APB2CLKDivider = RCC_HCLK_DIV2;

  if (HAL_RCC_ClockConfig(&RCC_ClkInitStruct, FLASH_LATENCY_5) != HAL_OK)
  {
    Error_Handler();
  }
}

/**
  * @brief NVIC Configuration.
  * @retval None
  */
static void MX_NVIC_Init(void)
{
  /* DMA2_Stream0_IRQn interrupt configuration */
  HAL_NVIC_SetPriority(DMA2_Stream0_IRQn, 5, 0);
  HAL_NVIC_EnableIRQ(DMA2_Stream0_IRQn);
  /* TIM4_IRQn interrupt configuration */
  HAL_NVIC_SetPriority(TIM4_IRQn, 6, 0);
  HAL_NVIC_EnableIRQ(TIM4_IRQn);
  /* TIM3_IRQn interrupt configuration */
  HAL_NVIC_SetPriority(TIM3_IRQn, 6, 0);
  HAL_NVIC_EnableIRQ(TIM3_IRQn);
  /* ADC_IRQn interrupt configuration */
  HAL_NVIC_SetPriority(ADC_IRQn, 6, 0);
  HAL_NVIC_EnableIRQ(ADC_IRQn);
}

static void MX_ADC1_Init(void)
{

  ADC_ChannelConfTypeDef sConfig = {0};

  /** Configure the global features of the ADC (Clock, Resolution, Data Alignment and number of conversion)
  */
  hadc1.Instance = ADC1;
  hadc1.Init.ClockPrescaler = ADC_CLOCK_SYNC_PCLK_DIV4;
  hadc1.Init.Resolution = ADC_RESOLUTION_12B;
  hadc1.Init.ScanConvMode = DISABLE;
  hadc1.Init.ContinuousConvMode = DISABLE;
  hadc1.Init.DiscontinuousConvMode = DISABLE;
  hadc1.Init.ExternalTrigConvEdge = ADC_EXTERNALTRIGCONVEDGE_NONE;
  hadc1.Init.ExternalTrigConv = ADC_SOFTWARE_START;
  hadc1.Init.DataAlign = ADC_DATAALIGN_RIGHT;
  hadc1.Init.NbrOfConversion = 1;
  hadc1.Init.DMAContinuousRequests = DISABLE;
  hadc1.Init.EOCSelection = ADC_EOC_SINGLE_CONV;
  if (HAL_ADC_Init(&hadc1) != HAL_OK)
  {
    Error_Handler();
  }
  /** Configure for the selected ADC regular channel its corresponding rank in the sequencer and its sample time.
  */
  sConfig.Channel = ADC_CHANNEL_10;
  sConfig.Rank = 1;
  sConfig.SamplingTime = ADC_SAMPLETIME_3CYCLES;
  if (HAL_ADC_ConfigChannel(&hadc1, &sConfig) != HAL_OK)
  {
    Error_Handler();
  }

}

static void MX_ADC2_Init(void)
{

  ADC_ChannelConfTypeDef sConfig = {0};

  /** Configure the global features of the ADC (Clock, Resolution, Data Alignment and number of conversion)
  */
  hadc2.Instance = ADC2;
  hadc2.Init.ClockPrescaler = ADC_CLOCK_SYNC_PCLK_DIV4;
  hadc2.Init.Resolution = ADC_RESOLUTION_12B;
  hadc2.Init.ScanConvMode = ENABLE;
  hadc2.Init.ContinuousConvMode = DISABLE;
  hadc2.Init.DiscontinuousConvMode = DISABLE;
  hadc2.Init.ExternalTrigConvEdge = ADC_EXTERNALTRIGCONVEDGE_NONE;
  hadc2.Init.ExternalTrigConv = ADC_SOFTWARE_START;
  hadc2.Init.DataAlign = ADC_DATAALIGN_RIGHT;
  hadc2.Init.NbrOfConversion = 2;
  hadc2.Init.DMAContinuousRequests = ENABLE;
  hadc2.Init.EOCSelection = ADC_EOC_SINGLE_CONV;
  if (HAL_ADC_Init(&hadc2) != HAL_OK)
  {
    Error_Handler();
  }
  /** Configure for the selected ADC regular channel its corresponding rank in the sequencer and its sample time.
  */
  sConfig.Channel = ADC_CHANNEL_14;
  sConfig.Rank = 1;
  sConfig.SamplingTime = ADC_SAMPLETIME_84CYCLES;
  if (HAL_ADC_ConfigChannel(&hadc2, &sConfig) != HAL_OK)
  {
    Error_Handler();
  }
  /** Configure for the selected ADC regular channel its corresponding rank in the sequencer and its sample time.
  */
  sConfig.Channel = ADC_CHANNEL_15;
  sConfig.Rank = 2;
  if (HAL_ADC_ConfigChannel(&hadc2, &sConfig) != HAL_OK)
  {
    Error_Handler();
  }

}

static void MX_CAN1_Init(void)
{

  hcan1.Instance = CAN1;
  hcan1.Init.Prescaler = 6;
  hcan1.Init.Mode = CAN_MODE_NORMAL;
  hcan1.Init.SyncJumpWidth = CAN_SJW_1TQ;
  hcan1.Init.TimeSeg1 = CAN_BS1_11TQ;
  hcan1.Init.TimeSeg2 = CAN_BS2_2TQ;
  hcan1.Init.TimeTriggeredMode = DISABLE;
  hcan1.Init.AutoBusOff = DISABLE;
  hcan1.Init.AutoWakeUp = DISABLE;
  hcan1.Init.AutoRetransmission = DISABLE;
  hcan1.Init.ReceiveFifoLocked = DISABLE;
  hcan1.Init.TransmitFifoPriority = DISABLE;
  if (HAL_CAN_Init(&hcan1) != HAL_OK)
  {
    Error_Handler();
  }
  /* USER CODE BEGIN CAN1_Init 2 */
	if (HAL_CAN_ActivateNotification(&hcan1, CAN_IT_RX_FIFO0_MSG_PENDING | CAN_IT_RX_FIFO0_FULL | CAN_IT_RX_FIFO0_OVERRUN | CAN_IT_ERROR | CAN_IT_BUSOFF) != HAL_OK)
	{
	  /* Notification Error */
	  Error_Handler();
	}
	HAL_GPIO_WritePin(CAN_S_GPIO_Port, CAN_S_Pin, GPIO_PIN_RESET);
	HAL_CAN_Start(&hcan1);

  /* USER CODE END CAN1_Init 2 */

}

static void MX_I2C1_Init(void)
{

  hi2c1.Instance = I2C1;
  hi2c1.Init.ClockSpeed = 100000;
  hi2c1.Init.DutyCycle = I2C_DUTYCYCLE_2;
  hi2c1.Init.OwnAddress1 = 0;
  hi2c1.Init.AddressingMode = I2C_ADDRESSINGMODE_7BIT;
  hi2c1.Init.DualAddressMode = I2C_DUALADDRESS_DISABLE;
  hi2c1.Init.OwnAddress2 = 0;
  hi2c1.Init.GeneralCallMode = I2C_GENERALCALL_DISABLE;
  hi2c1.Init.NoStretchMode = I2C_NOSTRETCH_DISABLE;
  if (HAL_I2C_Init(&hi2c1) != HAL_OK)
  {
    Error_Handler();
  }

}

static void MX_IWDG_Init(void)
{

  hiwdg.Instance = IWDG;
  hiwdg.Init.Prescaler = IWDG_PRESCALER_16;
  hiwdg.Init.Reload = 4095;
  if (HAL_IWDG_Init(&hiwdg) != HAL_OK)
  {
    Error_Handler();
  }

}

static void MX_SPI1_Init(void)
{

  /* SPI1 parameter configuration*/
  hspi1.Instance = SPI1;
  hspi1.Init.Mode = SPI_MODE_MASTER;
  hspi1.Init.Direction = SPI_DIRECTION_2LINES;
  hspi1.Init.DataSize = SPI_DATASIZE_8BIT;
  hspi1.Init.CLKPolarity = SPI_POLARITY_HIGH;
  hspi1.Init.CLKPhase = SPI_PHASE_2EDGE;
  hspi1.Init.NSS = SPI_NSS_SOFT;
  hspi1.Init.BaudRatePrescaler = SPI_BAUDRATEPRESCALER_8;
  hspi1.Init.FirstBit = SPI_FIRSTBIT_MSB;
  hspi1.Init.TIMode = SPI_TIMODE_DISABLE;
  hspi1.Init.CRCCalculation = SPI_CRCCALCULATION_DISABLE;
  hspi1.Init.CRCPolynomial = 10;
  if (HAL_SPI_Init(&hspi1) != HAL_OK)
  {
    Error_Handler();
  }

}

static void MX_SPI2_Init(void)
{

  /* SPI2 parameter configuration*/
  hspi2.Instance = SPI2;
  hspi2.Init.Mode = SPI_MODE_MASTER;
  hspi2.Init.Direction = SPI_DIRECTION_2LINES;
  hspi2.Init.DataSize = SPI_DATASIZE_8BIT;
  hspi2.Init.CLKPolarity = SPI_POLARITY_LOW;
  hspi2.Init.CLKPhase = SPI_PHASE_1EDGE;
  hspi2.Init.NSS = SPI_NSS_SOFT;
  hspi2.Init.BaudRatePrescaler = SPI_BAUDRATEPRESCALER_64;
  hspi2.Init.FirstBit = SPI_FIRSTBIT_MSB;
  hspi2.Init.TIMode = SPI_TIMODE_DISABLE;
  hspi2.Init.CRCCalculation = SPI_CRCCALCULATION_DISABLE;
  hspi2.Init.CRCPolynomial = 10;
  if (HAL_SPI_Init(&hspi2) != HAL_OK)
  {
    Error_Handler();
  }

}

static void MX_SPI3_Init(void)
{

  /* SPI3 parameter configuration*/
  hspi3.Instance = SPI3;
  hspi3.Init.Mode = SPI_MODE_MASTER;
  hspi3.Init.Direction = SPI_DIRECTION_2LINES;
  hspi3.Init.DataSize = SPI_DATASIZE_8BIT;
  hspi3.Init.CLKPolarity = SPI_POLARITY_LOW;
  hspi3.Init.CLKPhase = SPI_PHASE_1EDGE;
  hspi3.Init.NSS = SPI_NSS_SOFT;
  hspi3.Init.BaudRatePrescaler = SPI_BAUDRATEPRESCALER_4;
  hspi3.Init.FirstBit = SPI_FIRSTBIT_MSB;
  hspi3.Init.TIMode = SPI_TIMODE_DISABLE;
  hspi3.Init.CRCCalculation = SPI_CRCCALCULATION_DISABLE;
  hspi3.Init.CRCPolynomial = 10;
  if (HAL_SPI_Init(&hspi3) != HAL_OK)
  {
    Error_Handler();
  }

}

static void MX_TIM1_Init(void)
{

  TIM_ClockConfigTypeDef sClockSourceConfig = {0};
  TIM_MasterConfigTypeDef sMasterConfig = {0};
  TIM_OC_InitTypeDef sConfigOC = {0};
  TIM_BreakDeadTimeConfigTypeDef sBreakDeadTimeConfig = {0};

  htim1.Instance = TIM1;
  htim1.Init.Prescaler = 0;
  htim1.Init.CounterMode = TIM_COUNTERMODE_UP;
  htim1.Init.Period = 0xffff;
  htim1.Init.ClockDivision = TIM_CLOCKDIVISION_DIV1;
  htim1.Init.RepetitionCounter = 0;
  htim1.Init.AutoReloadPreload = TIM_AUTORELOAD_PRELOAD_ENABLE;
  if (HAL_TIM_Base_Init(&htim1) != HAL_OK)
  {
    Error_Handler();
  }
  sClockSourceConfig.ClockSource = TIM_CLOCKSOURCE_INTERNAL;
  if (HAL_TIM_ConfigClockSource(&htim1, &sClockSourceConfig) != HAL_OK)
  {
    Error_Handler();
  }
  if (HAL_TIM_PWM_Init(&htim1) != HAL_OK)
  {
    Error_Handler();
  }
  sMasterConfig.MasterOutputTrigger = TIM_TRGO_RESET;
  sMasterConfig.MasterSlaveMode = TIM_MASTERSLAVEMODE_DISABLE;
  if (HAL_TIMEx_MasterConfigSynchronization(&htim1, &sMasterConfig) != HAL_OK)
  {
    Error_Handler();
  }
  sConfigOC.OCMode = TIM_OCMODE_PWM1;
  sConfigOC.Pulse = 0;
  sConfigOC.OCPolarity = TIM_OCPOLARITY_HIGH;
  sConfigOC.OCNPolarity = TIM_OCNPOLARITY_HIGH;
  sConfigOC.OCFastMode = TIM_OCFAST_DISABLE;
  sConfigOC.OCIdleState = TIM_OCIDLESTATE_RESET;
  sConfigOC.OCNIdleState = TIM_OCNIDLESTATE_RESET;
  if (HAL_TIM_PWM_ConfigChannel(&htim1, &sConfigOC, TIM_CHANNEL_1) != HAL_OK)
  {
    Error_Handler();
  }
  if (HAL_TIM_PWM_ConfigChannel(&htim1, &sConfigOC, TIM_CHANNEL_2) != HAL_OK)
  {
    Error_Handler();
  }
  if (HAL_TIM_PWM_ConfigChannel(&htim1, &sConfigOC, TIM_CHANNEL_3) != HAL_OK)
  {
    Error_Handler();
  }
  if (HAL_TIM_PWM_ConfigChannel(&htim1, &sConfigOC, TIM_CHANNEL_4) != HAL_OK)
  {
    Error_Handler();
  }
  sBreakDeadTimeConfig.OffStateRunMode = TIM_OSSR_DISABLE;
  sBreakDeadTimeConfig.OffStateIDLEMode = TIM_OSSI_DISABLE;
  sBreakDeadTimeConfig.LockLevel = TIM_LOCKLEVEL_OFF;
  sBreakDeadTimeConfig.DeadTime = 0;
  sBreakDeadTimeConfig.BreakState = TIM_BREAK_DISABLE;
  sBreakDeadTimeConfig.BreakPolarity = TIM_BREAKPOLARITY_HIGH;
  sBreakDeadTimeConfig.AutomaticOutput = TIM_AUTOMATICOUTPUT_DISABLE;
  if (HAL_TIMEx_ConfigBreakDeadTime(&htim1, &sBreakDeadTimeConfig) != HAL_OK)
  {
    Error_Handler();
  }
  HAL_TIM_MspPostInit(&htim1);

}

static void MX_TIM2_Init(void)
{

  TIM_ClockConfigTypeDef sClockSourceConfig = {0};
  TIM_SlaveConfigTypeDef sSlaveConfig = {0};
  TIM_IC_InitTypeDef sConfigIC = {0};
  TIM_MasterConfigTypeDef sMasterConfig = {0};

  htim2.Instance = TIM2;
  htim2.Init.Prescaler = 0;
  htim2.Init.CounterMode = TIM_COUNTERMODE_UP;
  htim2.Init.Period = 0xffffffff;
  htim2.Init.ClockDivision = TIM_CLOCKDIVISION_DIV1;
  htim2.Init.AutoReloadPreload = TIM_AUTORELOAD_PRELOAD_DISABLE;
  if (HAL_TIM_Base_Init(&htim2) != HAL_OK)
  {
    Error_Handler();
  }
  sClockSourceConfig.ClockSource = TIM_CLOCKSOURCE_INTERNAL;
  if (HAL_TIM_ConfigClockSource(&htim2, &sClockSourceConfig) != HAL_OK)
  {
    Error_Handler();
  }
  if (HAL_TIM_IC_Init(&htim2) != HAL_OK)
  {
    Error_Handler();
  }
  sSlaveConfig.SlaveMode = TIM_SLAVEMODE_RESET;
  sSlaveConfig.InputTrigger = TIM_TS_TI2FP2;
  sSlaveConfig.TriggerPolarity = TIM_INPUTCHANNELPOLARITY_FALLING;
  sSlaveConfig.TriggerPrescaler = TIM_ICPSC_DIV1;
  sSlaveConfig.TriggerFilter = 0;
  if (HAL_TIM_SlaveConfigSynchro(&htim2, &sSlaveConfig) != HAL_OK)
  {
    Error_Handler();
  }
  sConfigIC.ICPolarity = TIM_INPUTCHANNELPOLARITY_RISING;
  sConfigIC.ICSelection = TIM_ICSELECTION_INDIRECTTI;
  sConfigIC.ICPrescaler = TIM_ICPSC_DIV1;
  sConfigIC.ICFilter = 0;
  if (HAL_TIM_IC_ConfigChannel(&htim2, &sConfigIC, TIM_CHANNEL_1) != HAL_OK)
  {
    Error_Handler();
  }
  sConfigIC.ICPolarity = TIM_INPUTCHANNELPOLARITY_FALLING;
  sConfigIC.ICSelection = TIM_ICSELECTION_DIRECTTI;
  if (HAL_TIM_IC_ConfigChannel(&htim2, &sConfigIC, TIM_CHANNEL_2) != HAL_OK)
  {
    Error_Handler();
  }
  sMasterConfig.MasterOutputTrigger = TIM_TRGO_RESET;
  sMasterConfig.MasterSlaveMode = TIM_MASTERSLAVEMODE_DISABLE;
  if (HAL_TIMEx_MasterConfigSynchronization(&htim2, &sMasterConfig) != HAL_OK)
  {
    Error_Handler();
  }

}

static void MX_TIM3_Init(void)
{

  TIM_Encoder_InitTypeDef sConfig = {0};
  TIM_MasterConfigTypeDef sMasterConfig = {0};

  htim3.Instance = TIM3;
  htim3.Init.Prescaler = 0;
  htim3.Init.CounterMode = TIM_COUNTERMODE_CENTERALIGNED1;
  htim3.Init.Period = 0xffff;
  htim3.Init.ClockDivision = TIM_CLOCKDIVISION_DIV1;
  htim3.Init.AutoReloadPreload = TIM_AUTORELOAD_PRELOAD_DISABLE;
  sConfig.EncoderMode = TIM_ENCODERMODE_TI12;
  sConfig.IC1Polarity = TIM_ICPOLARITY_FALLING;
  sConfig.IC1Selection = TIM_ICSELECTION_DIRECTTI;
  sConfig.IC1Prescaler = TIM_ICPSC_DIV1;
  sConfig.IC1Filter = 0;
  sConfig.IC2Polarity = TIM_ICPOLARITY_FALLING;
  sConfig.IC2Selection = TIM_ICSELECTION_DIRECTTI;
  sConfig.IC2Prescaler = TIM_ICPSC_DIV1;
  sConfig.IC2Filter = 0;
  if (HAL_TIM_Encoder_Init(&htim3, &sConfig) != HAL_OK)
  {
    Error_Handler();
  }
  sMasterConfig.MasterOutputTrigger = TIM_TRGO_RESET;
  sMasterConfig.MasterSlaveMode = TIM_MASTERSLAVEMODE_DISABLE;
  if (HAL_TIMEx_MasterConfigSynchronization(&htim3, &sMasterConfig) != HAL_OK)
  {
    Error_Handler();
  }

}

static void MX_TIM4_Init(void)
{

  TIM_ClockConfigTypeDef sClockSourceConfig = {0};
  TIM_MasterConfigTypeDef sMasterConfig = {0};

  htim4.Instance = TIM4;
  htim4.Init.Prescaler = 168-1;
  htim4.Init.CounterMode = TIM_COUNTERMODE_UP;
  htim4.Init.Period = 0xffff;
  htim4.Init.ClockDivision = TIM_CLOCKDIVISION_DIV1;
  htim4.Init.AutoReloadPreload = TIM_AUTORELOAD_PRELOAD_DISABLE;
  if (HAL_TIM_Base_Init(&htim4) != HAL_OK)
  {
    Error_Handler();
  }
  sClockSourceConfig.ClockSource = TIM_CLOCKSOURCE_INTERNAL;
  if (HAL_TIM_ConfigClockSource(&htim4, &sClockSourceConfig) != HAL_OK)
  {
    Error_Handler();
  }
  sMasterConfig.MasterOutputTrigger = TIM_TRGO_RESET;
  sMasterConfig.MasterSlaveMode = TIM_MASTERSLAVEMODE_DISABLE;
  if (HAL_TIMEx_MasterConfigSynchronization(&htim4, &sMasterConfig) != HAL_OK)
  {
    Error_Handler();
  }

}

static void MX_TIM5_Init(void)
{

  TIM_ClockConfigTypeDef sClockSourceConfig = {0};
  TIM_SlaveConfigTypeDef sSlaveConfig = {0};
  TIM_IC_InitTypeDef sConfigIC = {0};
  TIM_MasterConfigTypeDef sMasterConfig = {0};

  htim5.Instance = TIM5;
  htim5.Init.Prescaler = 0;
  htim5.Init.CounterMode = TIM_COUNTERMODE_UP;
  htim5.Init.Period = 0xffffffff;
  htim5.Init.ClockDivision = TIM_CLOCKDIVISION_DIV1;
  htim5.Init.AutoReloadPreload = TIM_AUTORELOAD_PRELOAD_DISABLE;
  if (HAL_TIM_Base_Init(&htim5) != HAL_OK)
  {
    Error_Handler();
  }
  sClockSourceConfig.ClockSource = TIM_CLOCKSOURCE_INTERNAL;
  if (HAL_TIM_ConfigClockSource(&htim5, &sClockSourceConfig) != HAL_OK)
  {
    Error_Handler();
  }
  if (HAL_TIM_IC_Init(&htim5) != HAL_OK)
  {
    Error_Handler();
  }
  sSlaveConfig.SlaveMode = TIM_SLAVEMODE_RESET;
  sSlaveConfig.InputTrigger = TIM_TS_TI1FP1;
  sSlaveConfig.TriggerPolarity = TIM_INPUTCHANNELPOLARITY_RISING;
  sSlaveConfig.TriggerPrescaler = TIM_ICPSC_DIV1;
  sSlaveConfig.TriggerFilter = 0;
  if (HAL_TIM_SlaveConfigSynchro(&htim5, &sSlaveConfig) != HAL_OK)
  {
    Error_Handler();
  }
  sConfigIC.ICPolarity = TIM_INPUTCHANNELPOLARITY_RISING;
  sConfigIC.ICSelection = TIM_ICSELECTION_DIRECTTI;
  sConfigIC.ICPrescaler = TIM_ICPSC_DIV1;
  sConfigIC.ICFilter = 0;
  if (HAL_TIM_IC_ConfigChannel(&htim5, &sConfigIC, TIM_CHANNEL_1) != HAL_OK)
  {
    Error_Handler();
  }
  sConfigIC.ICPolarity = TIM_INPUTCHANNELPOLARITY_FALLING;
  sConfigIC.ICSelection = TIM_ICSELECTION_INDIRECTTI;
  if (HAL_TIM_IC_ConfigChannel(&htim5, &sConfigIC, TIM_CHANNEL_2) != HAL_OK)
  {
    Error_Handler();
  }
  sMasterConfig.MasterOutputTrigger = TIM_TRGO_RESET;
  sMasterConfig.MasterSlaveMode = TIM_MASTERSLAVEMODE_DISABLE;
  if (HAL_TIMEx_MasterConfigSynchronization(&htim5, &sMasterConfig) != HAL_OK)
  {
    Error_Handler();
  }

}

static void MX_TIM9_Init(void)
{

  TIM_ClockConfigTypeDef sClockSourceConfig = {0};

  htim9.Instance = TIM9;
  htim9.Init.Prescaler = 0;
  htim9.Init.CounterMode = TIM_COUNTERMODE_UP;
  htim9.Init.Period = 65535;
  htim9.Init.ClockDivision = TIM_CLOCKDIVISION_DIV1;
  htim9.Init.AutoReloadPreload = TIM_AUTORELOAD_PRELOAD_DISABLE;
  if (HAL_TIM_Base_Init(&htim9) != HAL_OK)
  {
    Error_Handler();
  }
  sClockSourceConfig.ClockSource = TIM_CLOCKSOURCE_INTERNAL;
  if (HAL_TIM_ConfigClockSource(&htim9, &sClockSourceConfig) != HAL_OK)
  {
    Error_Handler();
  }

}

static void MX_TIM10_Init(void)
{

  htim10.Instance = TIM10;
  htim10.Init.Prescaler = 167;
  htim10.Init.CounterMode = TIM_COUNTERMODE_UP;
  htim10.Init.Period = 65535;
  htim10.Init.ClockDivision = TIM_CLOCKDIVISION_DIV1;
  htim10.Init.AutoReloadPreload = TIM_AUTORELOAD_PRELOAD_DISABLE;
  if (HAL_TIM_Base_Init(&htim10) != HAL_OK)
  {
    Error_Handler();
  }

}

static void MX_USART1_UART_Init(void)
{

  huart1.Instance = USART1;
  huart1.Init.BaudRate = 115200;
  huart1.Init.WordLength = UART_WORDLENGTH_8B;
  huart1.Init.StopBits = UART_STOPBITS_1;
  huart1.Init.Parity = UART_PARITY_NONE;
  huart1.Init.Mode = UART_MODE_TX_RX;
  huart1.Init.HwFlowCtl = UART_HWCONTROL_NONE;
  huart1.Init.OverSampling = UART_OVERSAMPLING_16;
  if (HAL_UART_Init(&huart1) != HAL_OK)
  {
    Error_Handler();
  }

}

static void MX_USART3_UART_Init(void)
{

  huart3.Instance = USART3;
  huart3.Init.BaudRate = 115200;
  huart3.Init.WordLength = UART_WORDLENGTH_8B;
  huart3.Init.StopBits = UART_STOPBITS_1;
  huart3.Init.Parity = UART_PARITY_NONE;
  huart3.Init.Mode = UART_MODE_TX_RX;
  huart3.Init.HwFlowCtl = UART_HWCONTROL_NONE;
  huart3.Init.OverSampling = UART_OVERSAMPLING_16;
  if (HAL_UART_Init(&huart3) != HAL_OK)
  {
    Error_Handler();
  }

}

void MX_USB_OTG_FS_PCD_Init(void)
{

  hpcd_USB_OTG_FS.Instance = USB_OTG_FS;
  hpcd_USB_OTG_FS.Init.dev_endpoints = 4;
  hpcd_USB_OTG_FS.Init.speed = PCD_SPEED_FULL;
  hpcd_USB_OTG_FS.Init.dma_enable = DISABLE;
  hpcd_USB_OTG_FS.Init.phy_itface = PCD_PHY_EMBEDDED;
  hpcd_USB_OTG_FS.Init.Sof_enable = DISABLE;
  hpcd_USB_OTG_FS.Init.low_power_enable = DISABLE;
  hpcd_USB_OTG_FS.Init.lpm_enable = DISABLE;
  hpcd_USB_OTG_FS.Init.vbus_sensing_enable = ENABLE;
  hpcd_USB_OTG_FS.Init.use_dedicated_ep1 = DISABLE;
  if (HAL_PCD_Init(&hpcd_USB_OTG_FS) != HAL_OK)
  {
    Error_Handler();
  }

}

static void MX_DMA_Init(void)
{

  /* DMA controller clock enable */
  __HAL_RCC_DMA2_CLK_ENABLE();
  __HAL_RCC_DMA1_CLK_ENABLE();

  /* DMA interrupt init */
  /* DMA1_Stream0_IRQn interrupt configuration */
  HAL_NVIC_SetPriority(DMA1_Stream0_IRQn, 5, 0);
  HAL_NVIC_EnableIRQ(DMA1_Stream0_IRQn);
  /* DMA1_Stream3_IRQn interrupt configuration */
  HAL_NVIC_SetPriority(DMA1_Stream3_IRQn, 5, 0);
  HAL_NVIC_EnableIRQ(DMA1_Stream3_IRQn);
  /* DMA1_Stream4_IRQn interrupt configuration */
  HAL_NVIC_SetPriority(DMA1_Stream4_IRQn, 5, 0);
  HAL_NVIC_EnableIRQ(DMA1_Stream4_IRQn);
  /* DMA1_Stream5_IRQn interrupt configuration */
  HAL_NVIC_SetPriority(DMA1_Stream5_IRQn, 5, 0);
  HAL_NVIC_EnableIRQ(DMA1_Stream5_IRQn);
  /* DMA2_Stream2_IRQn interrupt configuration */
  HAL_NVIC_SetPriority(DMA2_Stream2_IRQn, 5, 0);
  HAL_NVIC_EnableIRQ(DMA2_Stream2_IRQn);
  /* DMA2_Stream3_IRQn interrupt configuration */
  HAL_NVIC_SetPriority(DMA2_Stream3_IRQn, 5, 0);
  HAL_NVIC_EnableIRQ(DMA2_Stream3_IRQn);
  /* DMA2_Stream5_IRQn interrupt configuration */
  HAL_NVIC_SetPriority(DMA2_Stream5_IRQn, 5, 0);
  HAL_NVIC_EnableIRQ(DMA2_Stream5_IRQn);
  /* DMA2_Stream7_IRQn interrupt configuration */
  HAL_NVIC_SetPriority(DMA2_Stream7_IRQn, 5, 0);
  HAL_NVIC_EnableIRQ(DMA2_Stream7_IRQn);

}

static void MX_GPIO_Init(void)
{
  GPIO_InitTypeDef GPIO_InitStruct = {0};

  /* GPIO Ports Clock Enable */
  __HAL_RCC_GPIOE_CLK_ENABLE();
  __HAL_RCC_GPIOC_CLK_ENABLE();
  __HAL_RCC_GPIOH_CLK_ENABLE();
  __HAL_RCC_GPIOA_CLK_ENABLE();
  __HAL_RCC_GPIOB_CLK_ENABLE();
  __HAL_RCC_GPIOD_CLK_ENABLE();

  /*Configure GPIO pin Output Level */
  HAL_GPIO_WritePin(SPI1_SS1_GPIO_Port, SPI1_SS1_Pin, GPIO_PIN_SET);

  /*Configure GPIO pin Output Level */
  HAL_GPIO_WritePin(GPIOB, SPI1_SS2_Pin|SPI1_SS3_Pin|SPI2_NSS_Pin, GPIO_PIN_RESET);

  /*Configure GPIO pin Output Level */
  HAL_GPIO_WritePin(GPIOE, DRV_ENABLE_Pin|DRV_BRAKE_Pin|DRV_GP1_Pin|LED_CLIP_Pin
                          |LED_ERR_Pin, GPIO_PIN_RESET);

  /*Configure GPIO pin Output Level */
  HAL_GPIO_WritePin(GPIOD, SPI2_SS2_Pin|SPI2_SS3_Pin|SPI3_SS2_Pin|SPI3_SS3_Pin
                          |CAN_S_Pin|LED_SYS_Pin, GPIO_PIN_RESET);

  /*Configure GPIO pin Output Level */
  HAL_GPIO_WritePin(SPI3_SS1_GPIO_Port, SPI3_SS1_Pin, GPIO_PIN_RESET);

  /*Configure GPIO pins : DIN7_Pin DIN6_Pin DIN5_Pin DIN4_Pin
                           DIN3_Pin */
  GPIO_InitStruct.Pin = DIN7_Pin|DIN6_Pin|DIN5_Pin|DIN4_Pin
                          |DIN3_Pin;
  GPIO_InitStruct.Mode = GPIO_MODE_INPUT;
  GPIO_InitStruct.Pull = GPIO_PULLUP;
  HAL_GPIO_Init(GPIOE, &GPIO_InitStruct);

  /*Configure GPIO pins : DIN2_Pin DIN1_Pin DIN0_Pin */
  GPIO_InitStruct.Pin = DIN2_Pin|DIN1_Pin|DIN0_Pin;
  GPIO_InitStruct.Mode = GPIO_MODE_INPUT;
  GPIO_InitStruct.Pull = GPIO_PULLUP;
  HAL_GPIO_Init(GPIOC, &GPIO_InitStruct);

  /*Configure GPIO pin : SPI1_SS1_Pin */
  GPIO_InitStruct.Pin = SPI1_SS1_Pin;
  GPIO_InitStruct.Mode = GPIO_MODE_OUTPUT_PP;
  GPIO_InitStruct.Pull = GPIO_NOPULL;
  GPIO_InitStruct.Speed = GPIO_SPEED_FREQ_VERY_HIGH;
  HAL_GPIO_Init(SPI1_SS1_GPIO_Port, &GPIO_InitStruct);

  /*Configure GPIO pins : SPI1_SS2_Pin SPI1_SS3_Pin SPI2_NSS_Pin */
  GPIO_InitStruct.Pin = SPI1_SS2_Pin|SPI1_SS3_Pin|SPI2_NSS_Pin;
  GPIO_InitStruct.Mode = GPIO_MODE_OUTPUT_PP;
  GPIO_InitStruct.Pull = GPIO_NOPULL;
  GPIO_InitStruct.Speed = GPIO_SPEED_FREQ_HIGH;
  HAL_GPIO_Init(GPIOB, &GPIO_InitStruct);

  /*Configure GPIO pin : BUTTON_A_Pin */
  GPIO_InitStruct.Pin = BUTTON_A_Pin;
  GPIO_InitStruct.Mode = GPIO_MODE_IT_RISING;
  GPIO_InitStruct.Pull = GPIO_PULLDOWN;
  HAL_GPIO_Init(BUTTON_A_GPIO_Port, &GPIO_InitStruct);

  /*Configure GPIO pin : DRV_ENABLE_Pin */
  GPIO_InitStruct.Pin = DRV_ENABLE_Pin;
  GPIO_InitStruct.Mode = GPIO_MODE_OUTPUT_PP;
  GPIO_InitStruct.Pull = GPIO_PULLDOWN;
  GPIO_InitStruct.Speed = GPIO_SPEED_FREQ_LOW;
  HAL_GPIO_Init(DRV_ENABLE_GPIO_Port, &GPIO_InitStruct);

  /*Configure GPIO pin : FLAG_Pin */
  GPIO_InitStruct.Pin = FLAG_Pin;
  GPIO_InitStruct.Mode = GPIO_MODE_IT_RISING;
  GPIO_InitStruct.Pull = GPIO_PULLDOWN;
  HAL_GPIO_Init(FLAG_GPIO_Port, &GPIO_InitStruct);

  /*Configure GPIO pin : DRV_BRAKE_Pin */
  GPIO_InitStruct.Pin = DRV_BRAKE_Pin;
  GPIO_InitStruct.Mode = GPIO_MODE_OUTPUT_PP;
  GPIO_InitStruct.Pull = GPIO_PULLDOWN;
  GPIO_InitStruct.Speed = GPIO_SPEED_FREQ_MEDIUM;
  HAL_GPIO_Init(DRV_BRAKE_GPIO_Port, &GPIO_InitStruct);

  /*Configure GPIO pins : DRV_GP1_Pin LED_CLIP_Pin LED_ERR_Pin */
  GPIO_InitStruct.Pin = DRV_GP1_Pin|LED_CLIP_Pin|LED_ERR_Pin;
  GPIO_InitStruct.Mode = GPIO_MODE_OUTPUT_PP;
  GPIO_InitStruct.Pull = GPIO_NOPULL;
  GPIO_InitStruct.Speed = GPIO_SPEED_FREQ_LOW;
  HAL_GPIO_Init(GPIOE, &GPIO_InitStruct);

  /*Configure GPIO pins : SPI2_SS2_Pin SPI2_SS3_Pin */
  GPIO_InitStruct.Pin = SPI2_SS2_Pin|SPI2_SS3_Pin;
  GPIO_InitStruct.Mode = GPIO_MODE_OUTPUT_PP;
  GPIO_InitStruct.Pull = GPIO_NOPULL;
  GPIO_InitStruct.Speed = GPIO_SPEED_FREQ_MEDIUM;
  HAL_GPIO_Init(GPIOD, &GPIO_InitStruct);

  /*Configure GPIO pin : ENCODER_Z_Pin */
  GPIO_InitStruct.Pin = ENCODER_Z_Pin;
  GPIO_InitStruct.Mode = GPIO_MODE_IT_RISING;
  GPIO_InitStruct.Pull = GPIO_NOPULL;
  HAL_GPIO_Init(ENCODER_Z_GPIO_Port, &GPIO_InitStruct);

  /*Configure GPIO pin : ENCODER_Z_1_2_1_Pin */
  GPIO_InitStruct.Pin = ENCODER_Z_1_2_1_Pin;
  GPIO_InitStruct.Mode = GPIO_MODE_INPUT;
  GPIO_InitStruct.Pull = GPIO_NOPULL;
  HAL_GPIO_Init(ENCODER_Z_1_2_1_GPIO_Port, &GPIO_InitStruct);

  /*Configure GPIO pin : SPI3_SS1_Pin */
  GPIO_InitStruct.Pin = SPI3_SS1_Pin;
  GPIO_InitStruct.Mode = GPIO_MODE_OUTPUT_PP;
  GPIO_InitStruct.Pull = GPIO_NOPULL;
  GPIO_InitStruct.Speed = GPIO_SPEED_FREQ_LOW;
  HAL_GPIO_Init(SPI3_SS1_GPIO_Port, &GPIO_InitStruct);

  /*Configure GPIO pins : SPI3_SS2_Pin SPI3_SS3_Pin CAN_S_Pin LED_SYS_Pin */
  GPIO_InitStruct.Pin = SPI3_SS2_Pin|SPI3_SS3_Pin|CAN_S_Pin|LED_SYS_Pin;
  GPIO_InitStruct.Mode = GPIO_MODE_OUTPUT_PP;
  GPIO_InitStruct.Pull = GPIO_NOPULL;
  GPIO_InitStruct.Speed = GPIO_SPEED_FREQ_LOW;
  HAL_GPIO_Init(GPIOD, &GPIO_InitStruct);

  /*Configure GPIO pin : E_STOP_Pin */
  GPIO_InitStruct.Pin = E_STOP_Pin;
  GPIO_InitStruct.Mode = GPIO_MODE_IT_FALLING;
  GPIO_InitStruct.Pull = GPIO_PULLUP;
  HAL_GPIO_Init(E_STOP_GPIO_Port, &GPIO_InitStruct);

  /*Configure GPIO pin : GP1_Pin */
  GPIO_InitStruct.Pin = GP1_Pin;
  GPIO_InitStruct.Mode = GPIO_MODE_INPUT;
  GPIO_InitStruct.Pull = GPIO_NOPULL;
  HAL_GPIO_Init(GP1_GPIO_Port, &GPIO_InitStruct);

  /*Configure GPIO pins : GP2_Pin GP3_Pin */
  GPIO_InitStruct.Pin = GP2_Pin|GP3_Pin;
  GPIO_InitStruct.Mode = GPIO_MODE_INPUT;
  GPIO_InitStruct.Pull = GPIO_NOPULL;
  HAL_GPIO_Init(GPIOB, &GPIO_InitStruct);

  /* EXTI interrupt init*/
  HAL_NVIC_SetPriority(EXTI2_IRQn, 6, 0);
  HAL_NVIC_EnableIRQ(EXTI2_IRQn);

  HAL_NVIC_SetPriority(EXTI9_5_IRQn, 13, 0);
  HAL_NVIC_EnableIRQ(EXTI9_5_IRQn);

}

/* USER CODE BEGIN 4 */
void RebootDFU(void) {
	*((unsigned long *)0x2001FFF0) = 0xDEADBEEF; // bkpsram. see startup assembly for jumps
	NVIC_SystemReset();
}
/* USER CODE END 4 */

__weak void StartDefaultTask(void *argument)
{
  /* USER CODE BEGIN 5 */
	HAL_GPIO_WritePin(LED_ERR_GPIO_Port, LED_ERR_Pin, GPIO_PIN_RESET);
	HAL_GPIO_WritePin(LED_CLIP_GPIO_Port, LED_CLIP_Pin, GPIO_PIN_RESET);
	HAL_GPIO_WritePin(LED_SYS_GPIO_Port, LED_SYS_Pin, GPIO_PIN_RESET);
  /* Infinite loop */
  for(;;)
  {
	  cppmain();
  }
  /* USER CODE END 5 */
}

void HAL_TIM_PeriodElapsedCallback(TIM_HandleTypeDef *htim)
{
  if (htim->Instance == TIM6) {
    HAL_IncTick();
  }
  /* USER CODE BEGIN Callback 1 */
  else{
	  HAL_TIM_PeriodElapsedCallback_CPP(htim);
  }
  /* USER CODE END Callback 1 */
}

void Error_Handler(void)
{
  /* USER CODE BEGIN Error_Handler_Debug */
  /* User can add his own implementation to report the HAL error return state */
	HAL_GPIO_WritePin(LED_ERR_GPIO_Port, LED_ERR_Pin, GPIO_PIN_RESET);
  /* USER CODE END Error_Handler_Debug */
}
